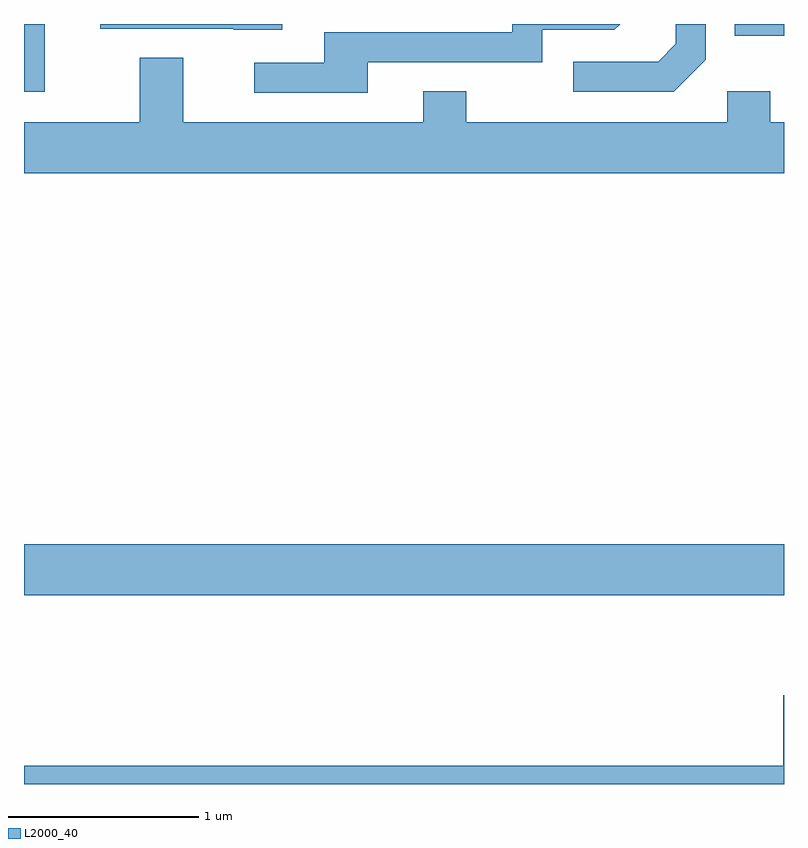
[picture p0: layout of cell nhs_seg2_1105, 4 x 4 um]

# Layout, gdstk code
import gdstk
lib = gdstk.Library(unit=1e-6, precision=1e-09)
def R(c, l, rs):  # rectangles x0, y0, x1, y1
    for r in rs: c.add(gdstk.rectangle(r[:2], r[2:], *l))
def P(c, l, *ps):  # polygons
    for p in ps: c.add(gdstk.Polygon(p, *l))
L2000_40 = (2000, 40)

nhs_seg2_1105 = lib.new_cell('nhs_seg2_1105')
R(nhs_seg2_1105, L2000_40, [(217.611,1012.796,221.611,1013.064), (217.611,1015.446,217.719,1015.802), (221.351,1015.741,221.611,1015.802)])
P(nhs_seg2_1105, L2000_40, [(218.969,1015.802),(218.011,1015.802),(218.011,1015.776),(218.715,1015.776),(218.715,1015.771),(218.969,1015.771)],
  [(219.419,1015.601),(220.339,1015.601),(220.339,1015.771),(220.717,1015.771),(220.748,1015.802),(220.181,1015.802),(220.181,1015.759),(219.191,1015.759),(219.191,1015.599),(218.823,1015.599),(218.823,1015.441),(219.419,1015.441)],
  [(221.199,1015.614),(221.199,1015.802),(221.041,1015.802),(221.041,1015.697),(220.949,1015.604),(220.503,1015.604),(220.503,1015.446),(221.032,1015.446)],
  [(221.611,1015.284),(221.539,1015.284),(221.539,1015.449),(221.311,1015.449),(221.311,1015.284),(219.939,1015.284),(219.939,1015.449),(219.711,1015.449),(219.711,1015.284),(218.449,1015.284),(218.449,1015.624),(218.221,1015.624),(218.221,1015.284),(217.611,1015.284),(217.611,1015.016),(221.611,1015.016)],
  [(221.611,1012.269),(221.606,1012.269),(221.606,1011.899),(217.611,1011.899),(217.611,1011.802),(221.611,1011.802)])

lib.write_gds('nhs_seg2_1105.gds')
